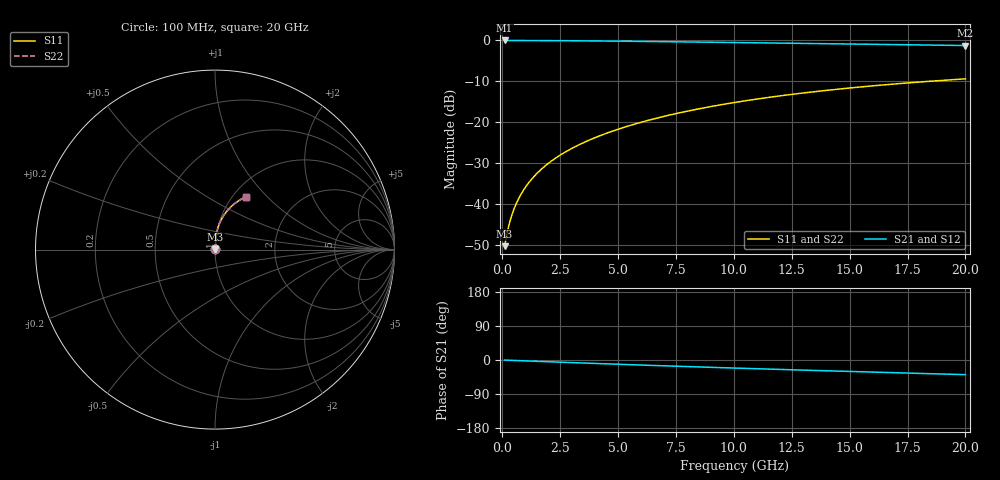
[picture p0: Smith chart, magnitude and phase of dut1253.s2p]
! Touchstone file exported from HFSS 2024.1.0
!  File:  C:/UserFiles/LocalFiles/RDL_TSV_Batchsim/temp_RDL_top_1253_1780241496.aedt
!  Generated:  11:33:46 PM May 31, 2026
!  Design:  RDL_top
!  Project:  temp_RDL_top_1253_1780241496
!  Setup:  Setup1
!  Solution:  Sweep
! Variables:
!  dtsv = 10.80580581um
!  hbump = 3um
!  htsv = 99.56um
!  ldown = 100um
!  lrdl = 543.01um
!  p = 40
!  p1 = 50.79um
!  rhole = 1um
!  t = 450um
!  tdown = 3.915915916um
!  trdl = 3.53um
!  wdown = 15.38538539um
!  wrdl = 23.48um
# GHz S MA R 50.000000
! Terminal data exported
! Port[1] = Box2_T1
! Port[2] = Box2_T2
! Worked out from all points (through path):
!   200 points, 100 MHz to 20 GHz, reference 50 ohm
!   highest |S21| = -0.02 dB at 100 MHz (marker M1); lowest = -1.3 dB at 20 GHz (marker M2)
!   group delay of S21, straight-line fit = 5.31 ps
!   lowest |S11| = -50.2 dB at 100 MHz (marker M3), VSWR 1.01, Z = 50.3 + j0.177 ohm
!   |S11| at or under -10 dB: start of sweep to 18.41 GHz
!   |S22| runs from -50.2 to -9.4 dB; largest |S21 - S12| = 2.3e-15
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0.1  0.003089 34.8  0.9975 -0.2  0.9975 -0.2  0.003089 34.8
! Gamma 0 0 0 0
! Port Impedance 50 0 50 0
0.2  0.004362 52.2  0.9973 -0.5  0.9973 -0.5  0.004362 52.2
0.3  0.005781 60.9  0.9971 -0.7  0.9971 -0.7  0.005781 60.9
0.4  0.007226 66.1  0.9969 -1.0  0.9969 -1.0  0.007226 66.1
0.5  0.008684 69.7  0.9968 -1.2  0.9968 -1.2  0.008684 69.7
0.6  0.01015 72.4  0.9966 -1.4  0.9966 -1.4  0.01015 72.4
0.8  0.01314 76.1  0.9963 -1.9  0.9963 -1.9  0.01314 76.1
1.1  0.0177 79.4  0.9957 -2.6  0.9957 -2.6  0.0177 79.4
1.3  0.02078 80.9  0.9953 -3.0  0.9953 -3.0  0.02078 80.9
1.6  0.02547 82.4  0.9945 -3.7  0.9945 -3.7  0.02547 82.4
2.1  0.0334 83.9  0.993 -4.9  0.993 -4.9  0.0334 83.9
2.7  0.04312 84.8  0.9907 -6.2  0.9907 -6.2  0.04312 84.8
3.5  0.05643 85.2  0.9869 -8.0  0.9869 -8.0  0.05643 85.2
4.2  0.06839 85.2  0.983 -9.5  0.983 -9.5  0.06839 85.2
5  0.08241 84.7  0.9781 -11.3  0.9781 -11.3  0.08241 84.7
6.8  0.115 82.9  0.9657 -15.0  0.9657 -15.0  0.115 82.9
8.4  0.1446 80.5  0.9539 -18.2  0.9539 -18.2  0.1446 80.5
10.1  0.176 77.6  0.9409 -21.4  0.9409 -21.4  0.176 77.6
11.7  0.2052 74.8  0.9287 -24.4  0.9287 -24.4  0.2052 74.8
13.4  0.2352 71.6  0.9156 -27.4  0.9156 -27.4  0.2352 71.6
16.7  0.29 65.6  0.8901 -33.2  0.8901 -33.2  0.29 65.6
20  0.3393 59.8  0.8649 -38.6  0.8649 -38.6  0.3394 59.8
